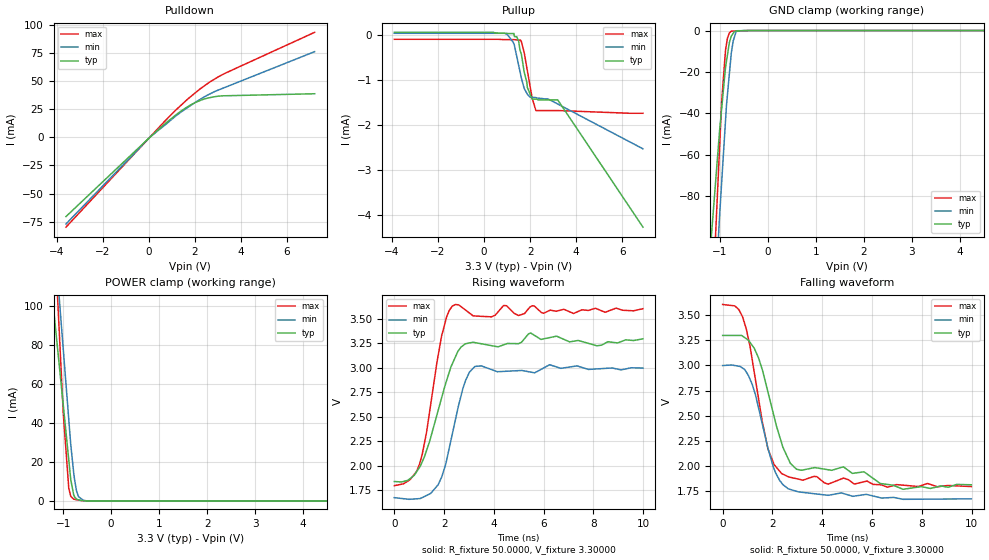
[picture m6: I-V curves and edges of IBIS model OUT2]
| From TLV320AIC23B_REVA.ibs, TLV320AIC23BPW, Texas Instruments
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[Model] OUT2
Model_type Output
Vref=0.00000V
Rref=1.00000Gohms
Cref=10.0000pF
Vmeas=1.65000V
C_comp 2.00000pF 2.00000pF 2.00000pF
| variable typ   min   max
[Voltage Range] 3.30000V 3.00000V 3.60000V
[POWER Clamp Reference] 3.30000V 3.00000V 3.60000V
[Pullup Reference] 3.30000V 3.00000V 3.60000V
[Pulldown Reference] 0.00000V 0.00000V 0.00000V
[GND Clamp Reference] 0.00000V 0.00000V 0.00000V
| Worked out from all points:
|   slope of the pulldown table from 0 to 0.495 V, typ, clamps not added: 53.9 ohm
|   slope of the pullup table from 0 to 0.495 V, typ, clamps not added: 42.4 kohm
|   GND clamp passes 1 mA (typ) near -0.71 V on its own axis
|   POWER clamp passes 1 mA (typ) near -0.72 V on its own axis
|   falling waveform, R_fixture 50.0000, V_fixture 3.30000: 20-80 % time 1.03ns typ, 831ps min, 785ps max; typ from 3.3 V to 1.81 V
|   rising waveform, R_fixture 50.0000, V_fixture 3.30000: 20-80 % time 1.01ns typ, 728ps min, 689ps max; typ from 1.84 V to 3.3 V
[GND Clamp]
-3.6V     -819mA     -1.188A    -1.381A
-3V       -640.9mA   -934mA     -1.074A
-1.002V   -47.87mA   -88.79mA   -55.34mA
-961.9mV  -37.84mA   -73.69mA   -34.62mA
-880.9mV  -17.84mA   -43.59mA   -9.529mA
-840.7mV  -11.82mA   -31.07mA   -3.73mA
-800.3mV  -5.779mA   -20.9mA    -1.151mA
-759.8mV  -2.675mA   -10.71mA   -297.9uA
-719.4mV  -1.331mA   -4.956mA   -266.3uA
-658.7mV  -258.1uA   -412.8uA   -218.6uA
-494mV    -57.86uA   0A         -89.48uA
7.2V      0A         0A         0A
[Pulldown]
-3.6V     -70.56mA   -77.16mA   -80mA
61.43mV   526.4uA    546.8uA    613.8uA
1.199V    20.55mA    19.65mA    24.97mA
1.68V     27.36mA    26.6mA     34.07mA
2.039V    31.34mA    31.6mA     40.18mA
2.559V    35.09mA    37.91mA    48.2mA
3.161V    37.1mA     43.45mA    55.62mA
7.2V      38.97mA    76.52mA    93.74mA
[Pullup]
-3.9V     51.97uA    30.28uA    -102.6uA
891.1mV   30.73uA    30.28uA    -110.6uA
1.301V    25.82uA    -204.3uA   -110.7uA
1.499V    -143.5uA   -676.1uA   -119.3uA
1.621V    -437.4uA   -965.9uA   -155.6uA
1.742V    -831.6uA   -1.194mA   -400.4uA
1.858V    -1.062mA   -1.301mA   -737.1uA
1.878V    -1.169mA   -1.32mA    -795.9uA
2.088V    -1.428mA   -1.387mA   -1.407mA
2.25V     -1.428mA   -1.395mA   -1.682mA
3.198V    -1.447mA   -1.537mA   -1.682mA
6.9V      -4.267mA   -2.531mA   -1.742mA
[POWER Clamp]
-3.9V     762.4mA    988.7mA    1.509A
-1.282V   119.2mA    167.3mA    188.5mA
-1.201V   99.33mA    141.9mA    147.7mA
-1.12V    79.38mA    116.4mA    106.7mA
-1.079V   69.46mA    103.7mA    86.34mA
-998.4mV  49.61mA    78.38mA    45.6mA
-882.5mV  21.14mA    42.01mA    6.581mA
-842.1mV  11.21mA    29.34mA    2.489mA
-781.5mV  3.366mA    14.89mA    1.06mA
-680.3mV  640.8uA    2.303mA    525.5uA
-518.2mV  91.03uA    178.3uA    156.8uA
6.9V      0A         0A         0A
[Falling Waveform]
R_fixture = 50.0000
V_fixture = 3.30000
V_fixture_min = 3.00000
V_fixture_max = 3.60000
0s        3.297V     2.998V     3.605V
490ps     3.298V     2.999V     3.591V
800ps     3.291V     2.973V     3.483V
1.27ns    3.171V     2.747V     2.932V
1.82ns    2.736V     2.178V     2.17V
2.37ns    2.228V     1.832V     1.925V
2.97ns    1.968V     1.749V     1.874V
4.85ns    1.992V     1.727V     1.879V
7.25ns    1.769V     1.669V     1.81V
9.99ns    1.814V     1.674V     1.796V
[Rising Waveform]
R_fixture = 50.0000
V_fixture = 3.30000
V_fixture_min = 3.00000
V_fixture_max = 3.60000
0s        1.838V     1.674V     1.796V
1.01ns    1.982V     1.664V     2.013V
1.3ns     2.159V     1.697V     2.348V
1.76ns    2.563V     1.805V     3.124V
2.33ns    3.041V     2.323V     3.631V
2.76ns    3.228V     2.793V     3.611V
3.24ns    3.259V     3.015V     3.531V
4.39ns    3.236V     2.964V     3.638V
5.48ns    3.357V     2.957V     3.626V
9.99ns    3.297V     2.998V     3.605V
[Ramp]
| variable typ min max
dV/dt_r 875.398m/1.00576n 794.781m/718.406p 1.08543/689.195p
dV/dt_f 875.398m/977.721p 794.781m/832.344p 1.08543/788.764p
R_load = 50.0000Ohms
